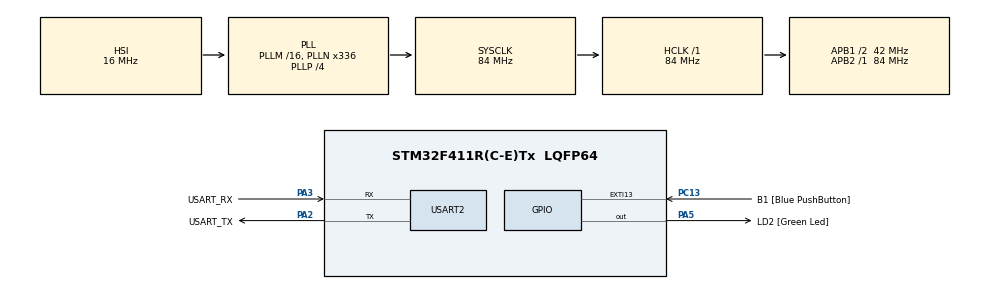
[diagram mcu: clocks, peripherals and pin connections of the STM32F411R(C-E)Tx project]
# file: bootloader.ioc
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Mcu.Family=STM32F4
Mcu.Name=STM32F411R(C-E)Tx
Mcu.Package=LQFP64
NVIC.PriorityGroup=NVIC_PRIORITYGROUP_0
PA13.GPIO_Label=TMS
PA13.Mode=Serial_Wire
PA13.Signal=SYS_JTMS-SWDIO
PA14.GPIO_Label=TCK
PA14.Mode=Serial_Wire
PA14.Signal=SYS_JTCK-SWCLK
PA2.GPIO_Label=USART_TX
PA2.Mode=Asynchronous
PA2.Signal=USART2_TX
PA3.GPIO_Label=USART_RX
PA3.Mode=Asynchronous
PA3.Signal=USART2_RX
PA5.GPIO_Label=LD2 [Green Led]
PA5.Signal=GPIO_Output
PB3.GPIO_Label=SWO
PB3.Signal=SYS_JTDO-SWO
PC13-ANTI_TAMP.GPIO_Label=B1 [Blue PushButton]
PC13-ANTI_TAMP.GPIO_ModeDefaultEXTI=GPIO_MODE_IT_FALLING
PC13-ANTI_TAMP.Signal=GPXTI13
PC14-OSC32_IN.Mode=LSE-External-Oscillator
PC14-OSC32_IN.Signal=RCC_OSC32_IN
PC15-OSC32_OUT.Mode=LSE-External-Oscillator
PC15-OSC32_OUT.Signal=RCC_OSC32_OUT
PH0\ -\ OSC_IN.Mode=HSE-External-Clock-Source
PH0\ -\ OSC_IN.Signal=RCC_OSC_IN
PH1\ -\ OSC_OUT.Mode=HSE-External-Clock-Source
PH1\ -\ OSC_OUT.Signal=RCC_OSC_OUT
ProjectManager.HeapSize=0x200
ProjectManager.StackSize=0x400
ProjectManager.TargetToolchain=STM32CubeIDE
RCC.48MHZClocksFreq_Value=84000000
RCC.AHBFreq_Value=84000000
RCC.APB1CLKDivider=RCC_HCLK_DIV2
RCC.APB1Freq_Value=42000000
RCC.APB1TimFreq_Value=84000000
RCC.APB2Freq_Value=84000000
RCC.APB2TimFreq_Value=84000000
RCC.CortexFreq_Value=84000000
RCC.FLatency-AdvancedSettings=FLASH_LATENCY_2
RCC.HCLKFreq_Value=84000000
RCC.HSE_VALUE=8000000
RCC.HSI_VALUE=16000000
RCC.PLLN=336
RCC.PLLP=RCC_PLLP_DIV4
RCC.SYSCLKFreq_VALUE=84000000
RCC.SYSCLKSource=RCC_SYSCLKSOURCE_PLLCLK
RCC.VCOOutputFreq_Value=336000000
USART2.VirtualMode=VM_ASYNC
board=NUCLEO-F411RE

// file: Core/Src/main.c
/* USER CODE BEGIN Header */
/**
  ******************************************************************************
  * @file           : main.c
  * @brief          : Main program body
  ******************************************************************************
  * @attention
  *
  * Copyright (c) 2026 STMicroelectronics.
  * All rights reserved.
  *
  * This software is licensed under terms that can be found in the LICENSE file
  * in the root directory of this software component.
  * If no LICENSE file comes with this software, it is provided AS-IS.
  *
  ******************************************************************************
  */
/* USER CODE END Header */
#include "main.h"

/* USER CODE BEGIN Includes */
#include <string.h>
/* USER CODE END Includes */

/* USER CODE BEGIN PD */
#define APP_ADDR   0x08010000U
#define APP_SIZE   (192U * 1024U)
#define RAM_START  0x20000000U
#define RAM_END    0x20020000U
/* USER CODE END PD */

UART_HandleTypeDef huart2;

void SystemClock_Config(void);
static void MX_GPIO_Init(void);
static void MX_USART2_UART_Init(void);

/* USER CODE BEGIN 0 */
static void print(const char *s)
{
  HAL_UART_Transmit(&huart2, (uint8_t *)s, strlen(s), 100);
}

static void jump_to_app(void)
{
  uint32_t app_sp    = *(volatile uint32_t *)APP_ADDR;
  uint32_t app_reset = *(volatile uint32_t *)(APP_ADDR + 4);
  void (*app_start)(void) = (void (*)(void))app_reset;

  if (app_sp < RAM_START || app_sp > RAM_END)
  {
    print("BOOT: no app (bad stack pointer)\r\n");
    return;
  }
  if (app_reset < APP_ADDR || app_reset >= APP_ADDR + APP_SIZE)
  {
    print("BOOT: no app (bad reset address)\r\n");
    return;
  }

  print("BOOT: jumping to app\r\n");

  HAL_UART_DeInit(&huart2);
  HAL_RCC_DeInit();
  HAL_DeInit();

  __disable_irq();
  SysTick->CTRL = 0;
  SysTick->LOAD = 0;
  SysTick->VAL  = 0;
  for (int i = 0; i < 8; i++)
  {
    NVIC->ICER[i] = 0xFFFFFFFF;
    NVIC->ICPR[i] = 0xFFFFFFFF;
  }

  SCB->VTOR = APP_ADDR;
  __set_MSP(app_sp);
  __enable_irq();
  app_start();
}
/* USER CODE END 0 */

int main(void)
{

  /* MCU Configuration--------------------------------------------------------*/

  /* Reset of all peripherals, Initializes the Flash interface and the Systick. */
  HAL_Init();

  /* Configure the system clock */
  SystemClock_Config();

  /* Initialize all configured peripherals */
  MX_GPIO_Init();
  MX_USART2_UART_Init();
  /* USER CODE BEGIN 2 */
  print("\r\nBOOT: bootloader running\r\n");
  jump_to_app();
  print("BOOT: staying in bootloader\r\n");
  /* USER CODE END 2 */

  /* Infinite loop */
  while (1)
  {

    /* USER CODE BEGIN 3 */
    HAL_GPIO_TogglePin(LD2_GPIO_Port, LD2_Pin);
    HAL_Delay(100);
  }
  /* USER CODE END 3 */
}

void SystemClock_Config(void)
{
  RCC_OscInitTypeDef RCC_OscInitStruct = {0};
  RCC_ClkInitTypeDef RCC_ClkInitStruct = {0};

  /** Configure the main internal regulator output voltage
  */
  __HAL_RCC_PWR_CLK_ENABLE();
  __HAL_PWR_VOLTAGESCALING_CONFIG(PWR_REGULATOR_VOLTAGE_SCALE1);

  /** Initializes the RCC Oscillators according to the specified parameters
  * in the RCC_OscInitTypeDef structure.
  */
  RCC_OscInitStruct.OscillatorType = RCC_OSCILLATORTYPE_HSI;
  RCC_OscInitStruct.HSIState = RCC_HSI_ON;
  RCC_OscInitStruct.HSICalibrationValue = RCC_HSICALIBRATION_DEFAULT;
  RCC_OscInitStruct.PLL.PLLState = RCC_PLL_ON;
  RCC_OscInitStruct.PLL.PLLSource = RCC_PLLSOURCE_HSI;
  RCC_OscInitStruct.PLL.PLLM = 16;
  RCC_OscInitStruct.PLL.PLLN = 336;
  RCC_OscInitStruct.PLL.PLLP = RCC_PLLP_DIV4;
  RCC_OscInitStruct.PLL.PLLQ = 4;
  if (HAL_RCC_OscConfig(&RCC_OscInitStruct) != HAL_OK)
  {
    Error_Handler();
  }

  /** Initializes the CPU, AHB and APB buses clocks
  */
  RCC_ClkInitStruct.ClockType = RCC_CLOCKTYPE_HCLK|RCC_CLOCKTYPE_SYSCLK
                              |RCC_CLOCKTYPE_PCLK1|RCC_CLOCKTYPE_PCLK2;
  RCC_ClkInitStruct.SYSCLKSource = RCC_SYSCLKSOURCE_PLLCLK;
  RCC_ClkInitStruct.AHBCLKDivider = RCC_SYSCLK_DIV1;
  RCC_ClkInitStruct.APB1CLKDivider = RCC_HCLK_DIV2;
  RCC_ClkInitStruct.APB2CLKDivider = RCC_HCLK_DIV1;

  if (HAL_RCC_ClockConfig(&RCC_ClkInitStruct, FLASH_LATENCY_2) != HAL_OK)
  {
    Error_Handler();
  }
}

static void MX_USART2_UART_Init(void)
{

  huart2.Instance = USART2;
  huart2.Init.BaudRate = 115200;
  huart2.Init.WordLength = UART_WORDLENGTH_8B;
  huart2.Init.StopBits = UART_STOPBITS_1;
  huart2.Init.Parity = UART_PARITY_NONE;
  huart2.Init.Mode = UART_MODE_TX_RX;
  huart2.Init.HwFlowCtl = UART_HWCONTROL_NONE;
  huart2.Init.OverSampling = UART_OVERSAMPLING_16;
  if (HAL_UART_Init(&huart2) != HAL_OK)
  {
    Error_Handler();
  }

}

static void MX_GPIO_Init(void)
{
  GPIO_InitTypeDef GPIO_InitStruct = {0};

  /* GPIO Ports Clock Enable */
  __HAL_RCC_GPIOC_CLK_ENABLE();
  __HAL_RCC_GPIOH_CLK_ENABLE();
  __HAL_RCC_GPIOA_CLK_ENABLE();
  __HAL_RCC_GPIOB_CLK_ENABLE();

  /*Configure GPIO pin Output Level */
  HAL_GPIO_WritePin(LD2_GPIO_Port, LD2_Pin, GPIO_PIN_RESET);

  /*Configure GPIO pin : B1_Pin */
  GPIO_InitStruct.Pin = B1_Pin;
  GPIO_InitStruct.Mode = GPIO_MODE_IT_FALLING;
  GPIO_InitStruct.Pull = GPIO_NOPULL;
  HAL_GPIO_Init(B1_GPIO_Port, &GPIO_InitStruct);

  /*Configure GPIO pin : LD2_Pin */
  GPIO_InitStruct.Pin = LD2_Pin;
  GPIO_InitStruct.Mode = GPIO_MODE_OUTPUT_PP;
  GPIO_InitStruct.Pull = GPIO_NOPULL;
  GPIO_InitStruct.Speed = GPIO_SPEED_FREQ_LOW;
  HAL_GPIO_Init(LD2_GPIO_Port, &GPIO_InitStruct);

}

void Error_Handler(void)
{
  __disable_irq();
  while (1)
  {
  }
}
